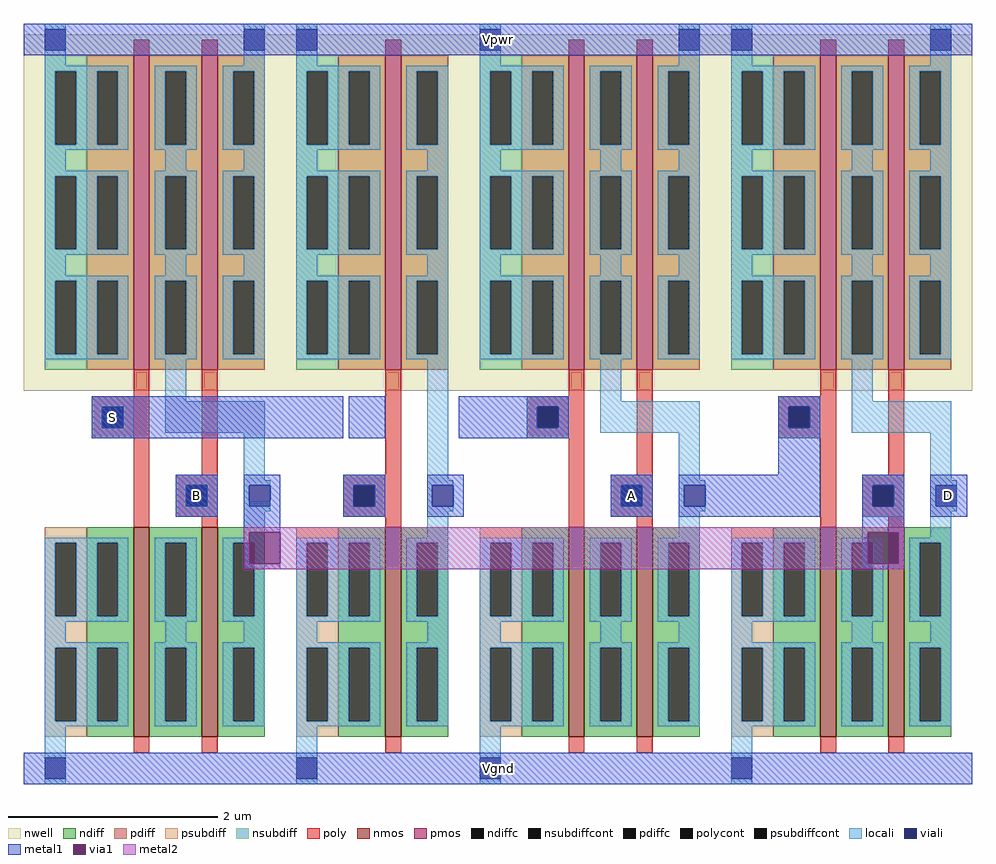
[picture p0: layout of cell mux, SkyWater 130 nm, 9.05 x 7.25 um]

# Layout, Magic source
magic
tech sky130A
<< nwell >>
rect 895 375 905 715
<< metal1 >>
rect 0 695 905 725
rect 65 330 305 370
rect 310 330 345 370
rect 415 330 480 370
rect 720 295 760 330
rect 145 255 185 295
rect 240 270 245 295
rect 210 240 245 270
rect 560 255 600 295
rect 655 255 760 295
rect 865 255 900 295
rect 210 210 215 240
rect 210 205 245 210
rect 800 240 840 255
rect 800 210 805 240
rect 835 210 840 240
rect 800 205 840 210
rect 0 0 905 30
<< via1 >>
rect 215 210 245 240
rect 805 210 835 240
<< metal2 >>
rect 210 240 840 245
rect 210 210 215 240
rect 245 210 805 240
rect 835 210 840 240
rect 210 205 840 210
use inverter  inverter_0
transform 1 0 345 0 1 195
box -105 -195 80 530
use nand  nand_0
transform 1 0 105 0 1 195
box -105 -195 145 530
use nand  nand_1
transform 1 0 520 0 1 195
box -105 -195 145 530
use nand  nand_2
transform 1 0 760 0 1 195
box -105 -195 145 530
<< labels >>
flabel metal1 865 255 900 295 1 FreeSans 200 0 0 0 D
port 6 n
flabel metal1 0 0 905 30 1 FreeSans 200 0 0 0 Vgnd
port 5 n
flabel metal1 0 695 905 725 1 FreeSans 200 0 0 0 Vpwr
port 4 n
flabel metal1 75 340 95 360 1 FreeSans 200 0 0 0 S
port 1 n
flabel metal1 560 255 600 295 1 FreeSans 200 0 0 0 A
port 2 n
flabel metal1 145 255 185 295 1 FreeSans 200 0 0 0 B
port 3 n
<< end >>

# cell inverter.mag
magic
tech sky130A
<< nwell >>
rect -105 180 80 520
<< nmos >>
rect 0 -150 15 50
<< pmos >>
rect 0 200 15 500
<< ndiff >>
rect -45 35 0 50
rect -45 -35 -35 35
rect -15 -35 0 35
rect -45 -65 0 -35
rect -45 -135 -35 -65
rect -15 -135 0 -65
rect -45 -150 0 -135
rect 15 35 60 50
rect 15 -35 30 35
rect 50 -35 60 35
rect 15 -65 60 -35
rect 15 -135 30 -65
rect 50 -135 60 -65
rect 15 -150 60 -135
<< pdiff >>
rect -45 485 0 500
rect -45 415 -35 485
rect -15 415 0 485
rect -45 385 0 415
rect -45 315 -35 385
rect -15 315 0 385
rect -45 285 0 315
rect -45 215 -35 285
rect -15 215 0 285
rect -45 200 0 215
rect 15 485 60 500
rect 15 415 30 485
rect 50 415 60 485
rect 15 385 60 415
rect 15 315 30 385
rect 50 315 60 385
rect 15 285 60 315
rect 15 215 30 285
rect 50 215 60 285
rect 15 200 60 215
<< ndiffc >>
rect -35 -35 -15 35
rect -35 -135 -15 -65
rect 30 -35 50 35
rect 30 -135 50 -65
<< pdiffc >>
rect -35 415 -15 485
rect -35 315 -15 385
rect -35 215 -15 285
rect 30 415 50 485
rect 30 315 50 385
rect 30 215 50 285
<< psubdiff >>
rect -85 35 -45 50
rect -85 -35 -75 35
rect -55 -35 -45 35
rect -85 -65 -45 -35
rect -85 -135 -75 -65
rect -55 -135 -45 -65
rect -85 -150 -45 -135
<< nsubdiff >>
rect -85 485 -45 500
rect -85 415 -75 485
rect -55 415 -45 485
rect -85 385 -45 415
rect -85 315 -75 385
rect -55 315 -45 385
rect -85 285 -45 315
rect -85 215 -75 285
rect -55 215 -45 285
rect -85 200 -45 215
<< psubdiffcont >>
rect -75 -35 -55 35
rect -75 -135 -55 -65
<< nsubdiffcont >>
rect -75 415 -55 485
rect -75 315 -55 385
rect -75 215 -55 285
<< poly >>
rect 0 500 15 515
rect 0 100 15 200
rect -40 90 15 100
rect -40 70 -30 90
rect -10 70 15 90
rect -40 60 15 70
rect 0 50 15 60
rect 0 -165 15 -150
<< polycont >>
rect -30 70 -10 90
<< locali >>
rect -85 525 -65 530
rect -85 490 -65 505
rect -85 485 -5 490
rect -85 415 -75 485
rect -55 415 -35 485
rect -15 415 -5 485
rect -85 410 -5 415
rect 20 485 60 490
rect 20 415 30 485
rect 50 415 60 485
rect 20 410 60 415
rect -85 390 -65 410
rect 40 390 60 410
rect -85 385 -5 390
rect -85 315 -75 385
rect -55 315 -35 385
rect -15 315 -5 385
rect -85 310 -5 315
rect 20 385 60 390
rect 20 315 30 385
rect 50 315 60 385
rect 20 310 60 315
rect -85 290 -65 310
rect 40 290 60 310
rect -85 285 -5 290
rect -85 215 -75 285
rect -55 215 -35 285
rect -15 215 -5 285
rect -85 210 -5 215
rect 20 285 60 290
rect 20 215 30 285
rect 50 215 60 285
rect 20 210 60 215
rect -40 90 0 100
rect -40 70 -30 90
rect -10 70 0 90
rect -40 60 0 70
rect 40 95 60 210
rect 40 90 65 95
rect 40 70 45 90
rect 40 65 65 70
rect 40 40 60 65
rect -85 35 -5 40
rect -85 -35 -75 35
rect -55 -35 -35 35
rect -15 -35 -5 35
rect -85 -40 -5 -35
rect 20 35 60 40
rect 20 -35 30 35
rect 50 -35 60 35
rect 20 -40 60 -35
rect -85 -60 -65 -40
rect 40 -60 60 -40
rect -85 -65 -5 -60
rect -85 -135 -75 -65
rect -55 -135 -35 -65
rect -15 -135 -5 -65
rect -85 -140 -5 -135
rect 20 -65 60 -60
rect 20 -135 30 -65
rect 50 -135 60 -65
rect 20 -140 60 -135
rect -85 -170 -65 -140
rect -85 -195 -65 -190
<< viali >>
rect -85 505 -65 525
rect -30 70 -10 90
rect 45 70 65 90
rect -85 -190 -65 -170
<< metal1 >>
rect -105 525 80 530
rect -105 505 -85 525
rect -65 505 80 525
rect -105 500 80 505
rect -40 90 0 100
rect -40 70 -30 90
rect -10 70 0 90
rect -40 60 0 70
rect 40 90 75 100
rect 40 70 45 90
rect 65 70 75 90
rect 40 60 75 70
rect -105 -170 80 -165
rect -105 -190 -85 -170
rect -65 -190 80 -170
rect -105 -195 80 -190
<< labels >>
flabel viali -85 -190 -65 -170 1 FreeSans 200 0 0 0 Vgnd
port 4 n
flabel metal1 -30 70 -10 90 1 FreeSans 200 0 0 0 IN
port 1 n
flabel viali -85 505 -65 525 1 FreeSans 200 0 0 0 Vpwr
port 3 n
flabel metal1 40 60 75 100 1 FreeSans 200 0 0 0 OUT
port 2 n
<< end >>

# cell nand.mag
magic
tech sky130A
<< nwell >>
rect -105 180 145 520
<< nmos >>
rect 0 -150 15 50
rect 65 -150 80 50
<< pmos >>
rect 0 200 15 500
rect 65 200 80 500
<< ndiff >>
rect -45 35 0 50
rect -45 -35 -35 35
rect -15 -35 0 35
rect -45 -65 0 -35
rect -45 -135 -35 -65
rect -15 -135 0 -65
rect -45 -150 0 -135
rect 15 35 65 50
rect 15 -35 30 35
rect 50 -35 65 35
rect 15 -65 65 -35
rect 15 -135 30 -65
rect 50 -135 65 -65
rect 15 -150 65 -135
rect 80 35 125 50
rect 80 -35 95 35
rect 115 -35 125 35
rect 80 -65 125 -35
rect 80 -135 95 -65
rect 115 -135 125 -65
rect 80 -150 125 -135
<< pdiff >>
rect -45 485 0 500
rect -45 415 -35 485
rect -15 415 0 485
rect -45 385 0 415
rect -45 315 -35 385
rect -15 315 0 385
rect -45 285 0 315
rect -45 215 -35 285
rect -15 215 0 285
rect -45 200 0 215
rect 15 485 65 500
rect 15 415 30 485
rect 50 415 65 485
rect 15 385 65 415
rect 15 315 30 385
rect 50 315 65 385
rect 15 285 65 315
rect 15 215 30 285
rect 50 215 65 285
rect 15 200 65 215
rect 80 485 125 500
rect 80 415 95 485
rect 115 415 125 485
rect 80 385 125 415
rect 80 315 95 385
rect 115 315 125 385
rect 80 285 125 315
rect 80 215 95 285
rect 115 215 125 285
rect 80 200 125 215
<< ndiffc >>
rect -35 -35 -15 35
rect -35 -135 -15 -65
rect 30 -35 50 35
rect 30 -135 50 -65
rect 95 -35 115 35
rect 95 -135 115 -65
<< pdiffc >>
rect -35 415 -15 485
rect -35 315 -15 385
rect -35 215 -15 285
rect 30 415 50 485
rect 30 315 50 385
rect 30 215 50 285
rect 95 415 115 485
rect 95 315 115 385
rect 95 215 115 285
<< psubdiff >>
rect -85 35 -45 50
rect -85 -35 -75 35
rect -55 -35 -45 35
rect -85 -65 -45 -35
rect -85 -135 -75 -65
rect -55 -135 -45 -65
rect -85 -150 -45 -135
<< nsubdiff >>
rect -85 485 -45 500
rect -85 415 -75 485
rect -55 415 -45 485
rect -85 385 -45 415
rect -85 315 -75 385
rect -55 315 -45 385
rect -85 285 -45 315
rect -85 215 -75 285
rect -55 215 -45 285
rect -85 200 -45 215
<< psubdiffcont >>
rect -75 -35 -55 35
rect -75 -135 -55 -65
<< nsubdiffcont >>
rect -75 415 -55 485
rect -75 315 -55 385
rect -75 215 -55 285
<< poly >>
rect 0 500 15 515
rect 65 500 80 515
rect 0 175 15 200
rect -40 165 15 175
rect -40 145 -30 165
rect -10 145 15 165
rect -40 135 15 145
rect 0 50 15 135
rect 65 100 80 200
rect 40 90 80 100
rect 40 70 50 90
rect 70 70 80 90
rect 40 60 80 70
rect 65 50 80 60
rect 0 -165 15 -150
rect 65 -165 80 -150
<< polycont >>
rect -30 145 -10 165
rect 50 70 70 90
<< locali >>
rect -85 525 -65 530
rect -85 490 -65 505
rect 105 525 125 530
rect 105 490 125 505
rect -85 485 -5 490
rect -85 415 -75 485
rect -55 415 -35 485
rect -15 415 -5 485
rect -85 410 -5 415
rect 20 485 60 490
rect 20 415 30 485
rect 50 415 60 485
rect 20 410 60 415
rect 85 485 125 490
rect 85 415 95 485
rect 115 415 125 485
rect 85 410 125 415
rect -85 390 -65 410
rect 30 390 50 410
rect 105 390 125 410
rect -85 385 -5 390
rect -85 315 -75 385
rect -55 315 -35 385
rect -15 315 -5 385
rect -85 310 -5 315
rect 20 385 60 390
rect 20 315 30 385
rect 50 315 60 385
rect 20 310 60 315
rect 85 385 125 390
rect 85 315 95 385
rect 115 315 125 385
rect 85 310 125 315
rect -85 290 -65 310
rect 30 290 50 310
rect 105 290 125 310
rect -85 285 -5 290
rect -85 215 -75 285
rect -55 215 -35 285
rect -15 215 -5 285
rect -85 210 -5 215
rect 20 285 60 290
rect 20 215 30 285
rect 50 215 60 285
rect 20 210 60 215
rect 85 285 125 290
rect 85 215 95 285
rect 115 215 125 285
rect 85 210 125 215
rect -40 165 0 175
rect -40 145 -30 165
rect -10 145 0 165
rect -40 135 0 145
rect 30 170 50 210
rect 30 140 125 170
rect 40 90 80 100
rect 40 70 50 90
rect 70 70 80 90
rect 40 60 80 70
rect 105 95 125 140
rect 105 90 130 95
rect 105 70 110 90
rect 105 65 130 70
rect 105 40 125 65
rect -85 35 -5 40
rect -85 -35 -75 35
rect -55 -35 -35 35
rect -15 -35 -5 35
rect -85 -40 -5 -35
rect 20 35 60 40
rect 20 -35 30 35
rect 50 -35 60 35
rect 20 -40 60 -35
rect 85 35 125 40
rect 85 -35 95 35
rect 115 -35 125 35
rect 85 -40 125 -35
rect -85 -60 -65 -40
rect 30 -60 50 -40
rect 105 -60 125 -40
rect -85 -65 -5 -60
rect -85 -135 -75 -65
rect -55 -135 -35 -65
rect -15 -135 -5 -65
rect -85 -140 -5 -135
rect 20 -65 60 -60
rect 20 -135 30 -65
rect 50 -135 60 -65
rect 20 -140 60 -135
rect 85 -65 125 -60
rect 85 -135 95 -65
rect 115 -135 125 -65
rect 85 -140 125 -135
rect -85 -170 -65 -140
rect -85 -195 -65 -190
<< viali >>
rect -85 505 -65 525
rect 105 505 125 525
rect -30 145 -10 165
rect 50 70 70 90
rect 110 70 130 90
rect -85 -190 -65 -170
<< metal1 >>
rect -105 525 145 530
rect -105 505 -85 525
rect -65 505 105 525
rect 125 505 145 525
rect -105 500 145 505
rect -40 165 0 175
rect -40 145 -30 165
rect -10 145 0 165
rect -40 135 0 145
rect 40 90 80 100
rect 40 70 50 90
rect 70 70 80 90
rect 40 60 80 70
rect 105 90 140 100
rect 105 70 110 90
rect 130 70 140 90
rect 105 60 140 70
rect -105 -170 145 -165
rect -105 -190 -85 -170
rect -65 -190 145 -170
rect -105 -195 145 -190
<< labels >>
flabel viali -85 -190 -65 -170 1 FreeSans 200 0 0 0 Vgnd
port 4 n
flabel viali -85 505 -65 525 1 FreeSans 200 0 0 0 Vpwr
port 3 n
flabel metal1 105 60 140 100 1 FreeSans 200 0 0 0 OUT
port 2 n
flabel metal1 40 60 80 100 1 FreeSans 200 0 0 0 B
port 5 n
flabel metal1 -40 135 0 175 1 FreeSans 200 0 0 0 A
port 1 n
<< end >>
